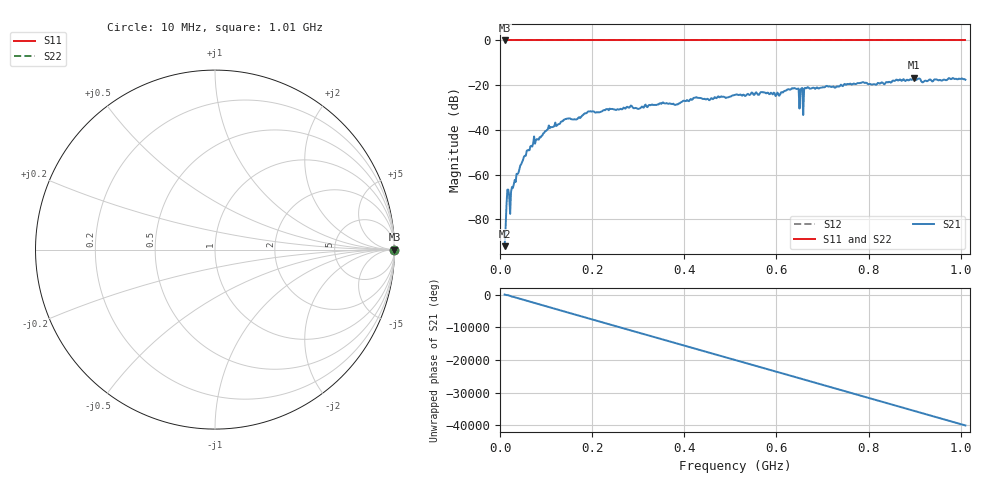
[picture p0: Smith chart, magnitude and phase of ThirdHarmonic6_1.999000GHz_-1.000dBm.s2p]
! 8/17/2025 12:01:16 AM
! C:\ANRITSUVNA\TEMP\TEMP.S2P
! CHANNEL.1
! TR.MEASUREMENT
! RAW.DATA
! RF.CORRECTION.OFF
! AVERAGING.OFF
! IF.BANDWIDTH: 5KHZ
! SWEEPTYPE:  FREQ.SWEEP(Linear)
! Reference Plane Port Info
! PORT:  PORT1  PORT2
! DISTANCE:  0  m  0  m
! TIME:  0  s  0  s
! PHASE.OFFSET:  0  deg.  0  deg.
! LOSS:  0  dB  0  dB
! REF.LOSS:  0  dB  0  dB
! REF.FREQ:  0  Hz  0  Hz
! Power Info
! POWER:  -20  dBm  -20  dBm
! EFF.POWER:  -20  dBm  -20  dBm
! SOURCE.ATTEN:  0  dB  0  dB
! TEST.ATTEN:  0  dB  0  dB
# GHZ S RI R 50.0
! FREQ.GHZ  S11RE  S11IM  S21RE  S21IM  S12RE  S12IM  S22RE  S22IM
!; PortSelection: Port_12
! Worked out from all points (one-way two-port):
!   501 points, 10 MHz to 1.01 GHz, reference 50 ohm
!   highest |S21| = -16.71 dB at 898 MHz (marker M1); lowest = -92.0 dB at 10 MHz (marker M2)
!   lowest |S11| = 0.0 dB at 10 MHz (marker M3)
!   |S11| at or under -10 dB: nowhere
!   |S22| runs from 0.0 to 0.0 dB; largest |S21 - S12| = 1.1
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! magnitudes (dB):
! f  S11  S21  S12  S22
! 10 MHz  0.0  -92.0  0.0  0.0
! 16 MHz  0.0  -66.7  0.0  0.0
! 26 MHz  0.0  -65.6  0.0  0.0
! 28 MHz  0.0  -66.0  0.0  0.0
! 48 MHz  0.0  -54.3  0.0  0.0
! 70 MHz  0.0  -47.5  0.0  0.0
! 108 MHz  0.0  -39.3  0.0  0.0
! 178 MHz  0.0  -33.7  0.0  0.0
! 194 MHz  0.0  -31.8  0.0  0.0
! 344 MHz  0.0  -28.6  0.0  0.0
! 510 MHz  0.0  -24.4  0.0  0.0
! 602 MHz  0.0  -23.3  0.0  0.0
! 638 MHz  0.0  -21.3  0.0  0.0
! 652 MHz  0.0  -22.1  0.0  0.0
! 654 MHz  0.0  -21.5  0.0  0.0
! 656 MHz  0.0  -21.3  0.0  0.0
! 662 MHz  0.0  -21.2  0.0  0.0
! 664 MHz  0.0  -21.4  0.0  0.0
! 678 MHz  0.0  -21.2  0.0  0.0
! 844 MHz  0.0  -18.5  0.0  0.0
! 898 MHz  0.0  -16.7  0.0  0.0
! 1.01 GHz  0.0  -17.6  0.0  0.0
